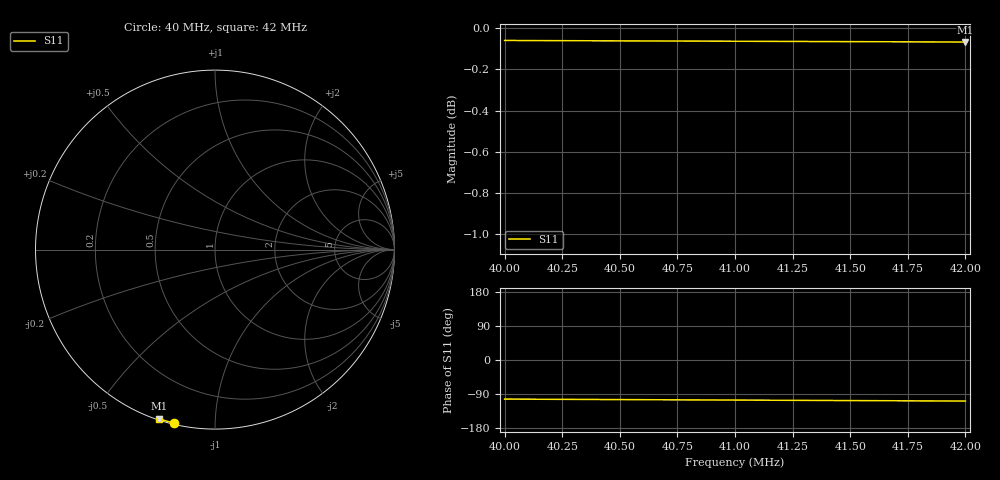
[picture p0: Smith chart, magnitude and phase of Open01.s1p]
# Hz S RI R 50
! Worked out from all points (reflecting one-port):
!   9 points, 40 MHz to 42 MHz, reference 50 ohm
!   lowest |S11| = -0.1 dB at 42 MHz (marker M1), VSWR 260.27, Z = 0.292 - j36.1 ohm
!   phase of S11 starts at -103 deg and turns -5 deg over the sweep
4e7  -0.2262 -0.9671
4.025e7  -0.2371 -0.9644
4.05e7  -0.2481 -0.9615
4.075e7  -0.2589 -0.9585
4.1e7  -0.2698 -0.9554
4.125e7  -0.2806 -0.9522
4.15e7  -0.2913 -0.9488
4.175e7  -0.3021 -0.9454
4.2e7  -0.3127 -0.9418
